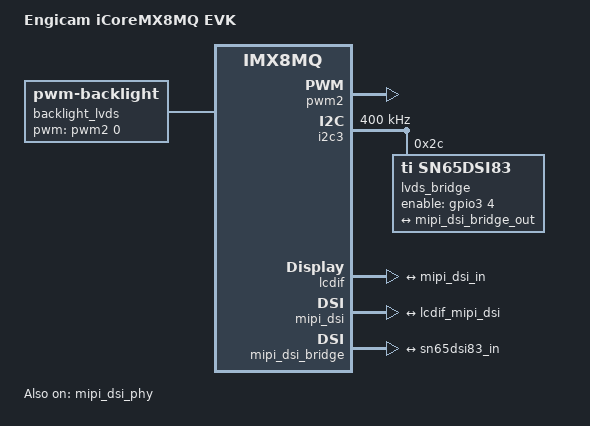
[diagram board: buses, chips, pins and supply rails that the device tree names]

/ {
	model = "Engicam iCoreMX8MQ EVK";
	compatible = "fsl,imx8mq-evk", "fsl,imx8mq";

        backlight_lvds: backlight_lvds {
                compatible = "pwm-backlight";
                pinctrl-names = "default";
                pinctrl-0 = <&pinctrl_pwm2>;
                pwms = <&pwm2 0 1000000>;
                brightness-levels = <0 4 8 16 32 64 128 255>;
                default-brightness-level = <7>;
                status = "okay";
        };

	display-subsystem {
		status = "disabled";
	};

};

&hdmi {
	status = "disabled";
};

#ifdef TOLTO_MM
&hdmi_cec {
	status = "disabled";
};
#endif

&iomuxc {
	icoremx8m {
        pinctrl_dsi_lvds_bridge: lvds_bridge_gpio {
            fsl,pins = <
                MX8MQ_IOMUXC_NAND_CE3_B_GPIO3_IO4	0x17059
				MX8MQ_IOMUXC_NAND_CE2_B_GPIO3_IO3	0x17059
            >;
        };

        pinctrl_pwm2: pwm1grp {
                fsl,pins = <
                        MX8MQ_IOMUXC_GPIO1_IO13_PWM2_OUT                0x56
                >;
        };

    };
};


&pwm2{
    status = "okay";
};

&i2c3 {
	clock-frequency = <400000>;
	pinctrl-names = "default";
	pinctrl-0 = <&pinctrl_i2c3>;
	status = "okay";

    lvds_bridge: sn65dsi83@2c {
        compatible = "ti,sn65dsi83";
        reg = <0x2c>;
        ti,dsi-lanes = <2>;
        ti,lvds-format = <2>;
        ti,lvds-bpp = <24>;
        ti,width-mm = <149>;
        ti,height-mm = <93>;
		enable-gpios = <&gpio3 4  GPIO_ACTIVE_HIGH>;
        pinctrl-names = "default";
        pinctrl-0 = <&pinctrl_dsi_lvds_bridge>;
        status = "okay";

       display-timings {
            lvds {
                clock-frequency = <51000000>;
                hactive = <1024>;
                vactive = <600>;
                hback-porch = <150>;
                hfront-porch = <150>;
                vback-porch = <17>;
                vfront-porch = <17>;
                hsync-len = <20>;
                vsync-len = <15>;
                hsync-active = <0>;
                vsync-active = <0>;
                de-active = <0>; // TODO: forced on the sn65dsi83 driver
                pixelclk-active = <0>;
            };
        };

        port {
            sn65dsi83_in: endpoint {
                remote-endpoint = <&mipi_dsi_bridge_out>;
            };
        };
    };
};


&lcdif {
	status = "okay";
/*
	assigned-clocks = <&clk IMX8MQ_CLK_LCDIF_PIXEL>,
			  <&clk IMX8MQ_VIDEO_PLL1_REF_SEL>;
	assigned-clock-parents = <&clk IMX8MQ_VIDEO_PLL1_OUT>,
				 <&clk IMX8MQ_CLK_25M>;
*/	
	max-res = <1366>, <768>;

	port@0 {
		lcdif_mipi_dsi: mipi-dsi-endpoint {
			remote-endpoint = <&mipi_dsi_in>;
		};
	};
};


&mipi_dsi_phy {
	status = "okay";
};

&mipi_dsi {
	status = "okay";
	as_bridge;
    sync-pol = <1>;
    pwr-delay = <10>;
/*
	assigned-clocks = <&clk IMX8MQ_CLK_DSI_CORE>,
			  <&clk IMX8MQ_CLK_DSI_PHY_REF>,
			  <&clk IMX8MQ_VIDEO_PLL1_REF_SEL>;
	assigned-clock-parents = <&clk IMX8MQ_SYS1_PLL_266M>,
				 <&clk IMX8MQ_VIDEO_PLL1_OUT>,
				 <&clk IMX8MQ_CLK_25M>;
	assigned-clock-rates = <266000000>;

	clocks = <&clk IMX8MQ_CLK_DSI_CORE>,
		 <&clk IMX8MQ_CLK_DSI_PHY_REF>,
		 <&clk IMX8MQ_VIDEO_PLL1>;
	clock-names = "core", "phy_ref", "pixel_pll";
*/	
	port@1 {
		mipi_dsi_in: endpoint {
			remote-endpoint = <&lcdif_mipi_dsi>;
		};
	};
};

&mipi_dsi_bridge {
    status = "okay";

    port@1 {
        mipi_dsi_bridge_out: endpoint {
            remote-endpoint = <&sn65dsi83_in>;
        };
    };
};


